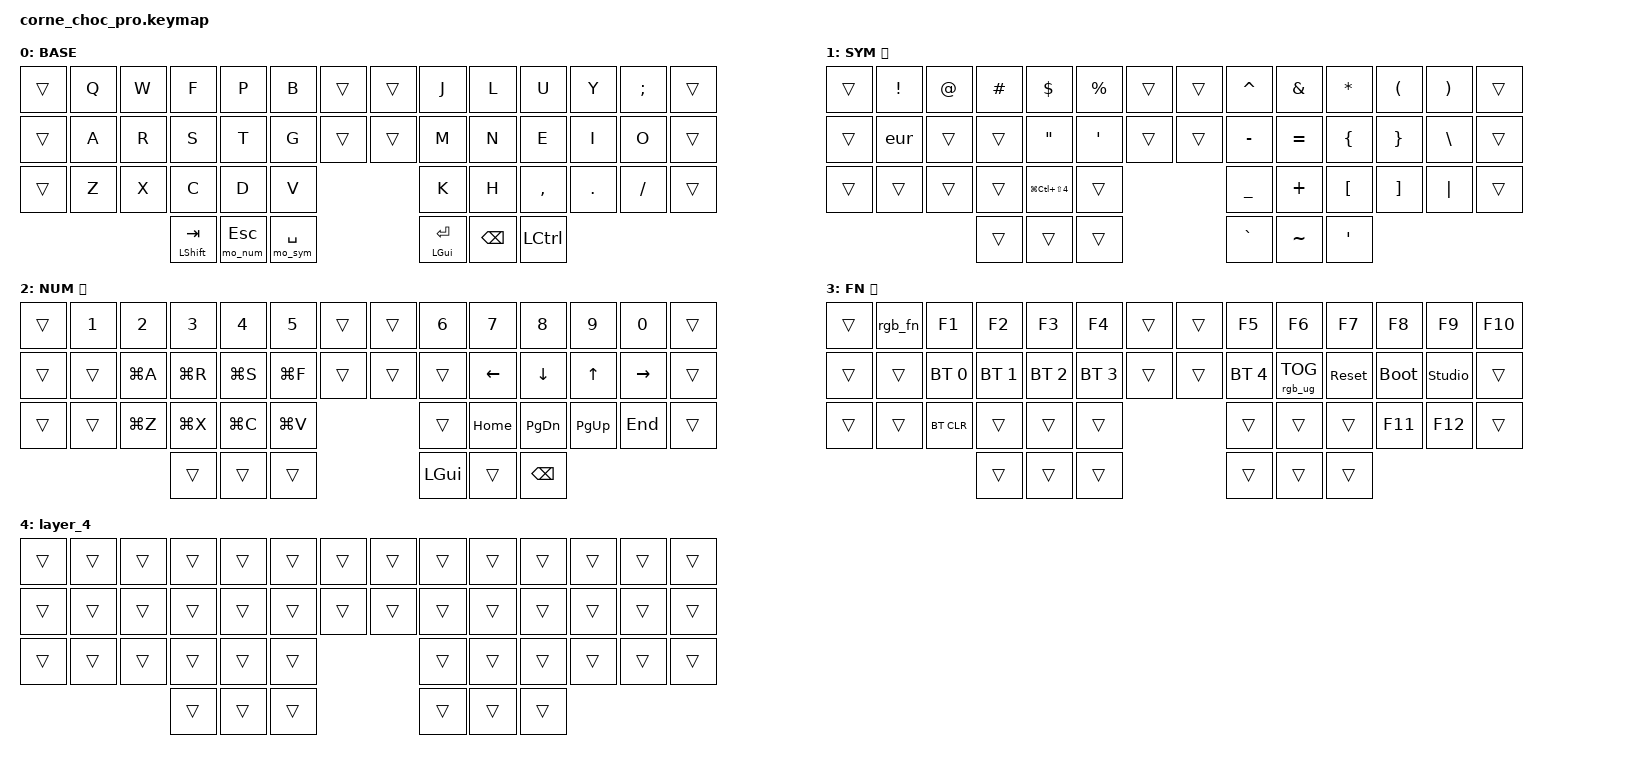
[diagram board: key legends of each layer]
/*
 * Copyright (c) 2020 The ZMK Contributors
 *
 * SPDX-License-Identifier: MIT
 */

#include <behaviors.dtsi>
#include <dt-bindings/zmk/bt.h>
#include <dt-bindings/zmk/keys.h>
#include <dt-bindings/zmk/rgb.h>

/ {
    chosen { zmk,physical-layout = &default_layout; };
};

/ {
    // ─────────────────────────────────────────────────────────────
    // RGB layer colour macros
    // BASE = off | SYM = green | NUM = yellow | FN = red
    // ─────────────────────────────────────────────────────────────

    macros {
        rgb_base: rgb_base {
            compatible = "zmk,behavior-macro";
            #binding-cells = <0>;
            bindings = <&rgb_ug RGB_OFF>;
        };

        rgb_sym: rgb_sym {
            compatible = "zmk,behavior-macro";
            #binding-cells = <0>;
            bindings = <&rgb_ug RGB_ON &rgb_ug RGB_COLOR_HSB(120,100,8)>; // green
        };

        rgb_num: rgb_num {
            compatible = "zmk,behavior-macro";
            #binding-cells = <0>;
            bindings = <&rgb_ug RGB_ON &rgb_ug RGB_COLOR_HSB(60,100,8)>;  // yellow
        };

        rgb_fn: rgb_fn {
            compatible = "zmk,behavior-macro";
            #binding-cells = <0>;
            bindings = <&rgb_ug RGB_ON &rgb_ug RGB_COLOR_HSB(0,100,8)>;   // red
        };

        // ── Momentary layer + RGB on press, restore BASE on release ──

        mo_sym: mo_sym {
            compatible = "zmk,behavior-macro";
            #binding-cells = <0>;
            bindings =
                <&macro_press>,
                <&mo 1>,
                <&macro_tap>,
                <&rgb_sym>,
                <&macro_pause_for_release>,
                <&macro_release>,
                <&mo 1>,
                <&macro_tap>,
                <&rgb_base>;
        };

        mo_num: mo_num {
            compatible = "zmk,behavior-macro";
            #binding-cells = <0>;
            bindings =
                <&macro_press>,
                <&mo 2>,
                <&macro_tap>,
                <&rgb_num>,
                <&macro_pause_for_release>,
                <&macro_release>,
                <&mo 2>,
                <&macro_tap>,
                <&rgb_base>;
        };

        eur: eur {
            compatible = "zmk,behavior-macro";
            #binding-cells = <0>;
            bindings =
                <&macro_press>,
                <&kp LALT>,
                <&macro_tap>,
                <&kp LS(N4)>,
                <&macro_release>,
                <&kp LALT>;
        };

        // FN is a conditional layer (SYM+NUM held together), so we
        // fire rgb_fn when both are held. This macro is bound to a
        // dedicated key on the FN layer itself as a visual indicator —
        // the colour change happens naturally when both mo_sym + mo_num
        // are held because mo_fn fires last via conditional_layers.
        // To drive RGB automatically on FN, we override mo_sym to check:
        // easier to just fire rgb_fn from the conditional layer key below.

        mo_fn: mo_fn {
            compatible = "zmk,behavior-macro";
            #binding-cells = <0>;
            bindings =
                <&macro_press>,
                <&mo 3>,
                <&macro_tap>,
                <&rgb_fn>,
                <&macro_pause_for_release>,
                <&macro_release>,
                <&mo 3>,
                <&macro_tap>,
                <&rgb_base>;
        };
    };

    // ─────────────────────────────────────────────────────────────
    // Conditional layers — hold SYM + NUM together to reach FN
    // ─────────────────────────────────────────────────────────────

    conditional_layers {
        compatible = "zmk,conditional-layers";

        fn_layer {
            if-layers = <1 2>;
            then-layer = <3>;
        };
    };

    // ─────────────────────────────────────────────────────────────
    // Behaviors — hold-tap for thumb keys using the layer macros
    // ─────────────────────────────────────────────────────────────

    behaviors {
        ht_sym: hold_tap_sym {
            compatible = "zmk,behavior-hold-tap";
            #binding-cells = <2>;
            flavor = "balanced";
            tapping-term-ms = <200>;
            bindings = <&mo_sym>, <&kp>;
        };

        ht_num: hold_tap_num {
            compatible = "zmk,behavior-hold-tap";
            #binding-cells = <2>;
            flavor = "balanced";
            tapping-term-ms = <200>;
            bindings = <&mo_num>, <&kp>;
        };
    };

    keymap {
        compatible = "zmk,keymap";

        // ┌──────────────────────────────────────────────────────────────────────────────┐
        // │  Layer 0 — BASE (Colemak-DH)                                                 │
        // │  Cols 7+8 = encoder buttons (trans), outer cols = trans (not physical)       │
        // ├──────┬─────┬─────┬─────┬─────┬─────┬──────┬──────┬─────┬─────┬─────┬─────┬─────┬──────┤
        // │(tr)  │  Q  │  W  │  F  │  P  │  B  │(tr)  │(tr)  │  J  │  L  │  U  │  Y  │  ;  │(tr)  │
        // ├──────┼─────┼─────┼─────┼─────┼─────┼──────┼──────┼─────┼─────┼─────┼─────┼─────┼──────┤
        // │(tr)  │  A  │  R  │  S  │  T  │  G  │(tr)  │(tr)  │  M  │  N  │  E  │  I  │  O  │(tr)  │
        // ├──────┼─────┼─────┼─────┼─────┼─────┼──────┴──────┼─────┼─────┼─────┼─────┼─────┼──────┤
        // │(tr)  │  Z  │  X  │  C  │  D  │  V  │             │  K  │  H  │  ,  │  .  │  /  │(tr)  │
        // └──────┴─────┴─────┼─────┼─────┼─────┼─────────────┼─────┼─────┼─────┴─────┴─────┴──────┘
        //                    │SFT/T│NUM/E│SYM/S│             │GUI/R│ DEL │FDEL │
        //                    └─────┴─────┴─────┘             └─────┴─────┴─────┘

        default_layer {
            display-name = "BASE";
            bindings = <
&trans  &kp Q  &kp W  &kp F          &kp P          &kp B            &trans  &trans  &kp J         &kp L          &kp U      &kp Y    &kp SEMI  &trans
&trans  &kp A  &kp R  &kp S          &kp T          &kp G            &trans  &trans  &kp M         &kp N          &kp E      &kp I    &kp O     &trans
&trans  &kp Z  &kp X  &kp C          &kp D          &kp V                            &kp K         &kp H          &kp COMMA  &kp DOT  &kp FSLH  &trans
                      &mt LSHFT TAB  &ht_num 0 ESC  &ht_sym 0 SPACE                  &mt LGUI RET  &kp BACKSPACE  &kp LCTRL
            >;
        };

        // ┌──────────────────────────────────────────────────────────────────────────────┐
        // │  Layer 1 — SYM                                                   (green)     │
        // ├──────┬─────┬─────┬─────┬─────┬─────┬──────┬──────┬─────┬─────┬─────┬─────┬─────┬──────┤
        // │(tr)  │  !  │  @  │  #  │  $  │  %  │(tr)  │(tr)  │  ^  │  &  │  *  │  (  │  )  │(tr)  │
        // ├──────┼─────┼─────┼─────┼─────┼─────┼──────┼──────┼─────┼─────┼─────┼─────┼─────┼──────┤
        // │(tr)  │     │     │     │  "  │  '  │(tr)  │(tr)  │  -  │  =  │  {  │  }  │  \  │(tr)  │
        // ├──────┼─────┼─────┼─────┼─────┼─────┼──────┴──────┼─────┼─────┼─────┼─────┼─────┼──────┤
        // │(tr)  │     │     │ SCR │     │     │             │  _  │  +  │  [  │  ]  │  |  │(tr)  │
        // └──────┴─────┴─────┼─────┼─────┼─────┼─────────────┼─────┼─────┼─────┴─────┴─────┴──────┘
        //                    │     │     │■■■■ │             │  `  │  ~  │  '  │
        //                    └─────┴─────┴─────┘             └─────┴─────┴─────┘

        sym_layer {
            display-name = "SYM 🟢";
            bindings = <
&trans  &kp EXCL  &kp AT_SIGN  &kp HASH  &kp DOLLAR          &kp PERCENT  &trans  &trans  &kp CARET  &kp AMPERSAND  &kp ASTERISK  &kp LEFT_PARENTHESIS  &kp RIGHT_PARENTHESIS  &trans
&trans  &eur      &trans       &trans    &kp DQT             &kp SQT      &trans  &trans  &kp MINUS  &kp EQUAL      &kp LBRC      &kp RBRC              &kp BSLH               &trans
&trans  &trans    &trans       &trans    &kp LG(LC(LS(N4)))  &trans                       &kp UNDER  &kp PLUS       &kp LBKT      &kp RBKT              &kp PIPE               &trans
                               &trans    &trans              &trans                       &kp GRAVE  &kp TILDE      &kp SQT
            >;
        };

        // ┌──────────────────────────────────────────────────────────────────────────────┐
        // │  Layer 2 — NUM + NAV                                          (yellow)       │
        // ├──────┬─────┬─────┬─────┬─────┬─────┬──────┬──────┬─────┬─────┬─────┬─────┬─────┬──────┤
        // │(tr)  │  1  │  2  │  3  │  4  │  5  │(tr)  │(tr)  │  6  │  7  │  8  │  9  │  0  │(tr)  │
        // ├──────┼─────┼─────┼─────┼─────┼─────┼──────┼──────┼─────┼─────┼─────┼─────┼─────┼──────┤
        // │(tr)  │CMD+A│CMD+R│CMD+S│CMD+F│     │(tr)  │(tr)  │  ←  │  ↓  │  ↑  │  →  │     │(tr)  │
        // ├──────┼─────┼─────┼─────┼─────┼─────┼──────┴──────┼─────┼─────┼─────┼─────┼─────┼──────┤
        // │(tr)  │CMD+Z│CMD+X│CMD+C│CMD+V│     │             │HOME │PGDN │PGUP │ END │     │(tr)  │
        // └──────┴─────┴─────┼─────┼─────┼─────┼─────────────┼─────┼─────┼─────┴─────┴─────┴──────┘
        //                    │     │■■■■ │     │             │LGUI │     │BSPC │
        //                    └─────┴─────┴─────┘             └─────┴─────┴─────┘

        num_layer {
            display-name = "NUM 🟡";
            bindings = <
&trans  &kp NUMBER_1  &kp NUMBER_2  &kp NUMBER_3  &kp NUMBER_4  &kp N5     &trans  &trans  &kp NUMBER_6  &kp N7    &kp N8     &kp N9     &kp N0     &trans
&trans  &trans        &kp LG(A)     &kp LG(R)     &kp LG(S)     &kp LG(F)  &trans  &trans  &trans        &kp LEFT  &kp DOWN   &kp UP     &kp RIGHT  &trans
&trans  &trans        &kp LG(Z)     &kp LG(X)     &kp LG(C)     &kp LG(V)                  &trans        &kp HOME  &kp PG_DN  &kp PG_UP  &kp END    &trans
                                    &trans        &trans        &trans                     &kp LGUI      &trans    &kp BSPC
            >;
        };

        // ┌──────────────────────────────────────────────────────────────────────────────┐
        // │  Layer 3 — FN                           (SYM + NUM)             (red)        │
        // ├──────┬─────┬─────┬─────┬─────┬─────┬──────┬──────┬─────┬─────┬─────┬─────┬─────┬──────┤
        // │(tr)  │rgb▶ │ F1  │ F2  │ F3  │ F4  │(tr)  │(tr)  │ F5  │ F6  │ F7  │ F8  │ F9  │(tr)  │
        // ├──────┼─────┼─────┼─────┼─────┼─────┼──────┼──────┼─────┼─────┼─────┼─────┼─────┼──────┤
        // │(tr)  │     │ BT0 │ BT1 │ BT2 │ BT3 │(tr)  │(tr)  │ BT4 │ TOG │ RST │BOOT │ STU │(tr)  │
        // ├──────┼─────┼─────┼─────┼─────┼─────┼──────┴──────┼─────┼─────┼─────┼─────┼─────┼──────┤
        // │(tr)  │BTCL │     │     │     │     │             │     │     │     │ F11 │ F12 │(tr)  │
        // └──────┴─────┴─────┼─────┼─────┼─────┼─────────────┼─────┼─────┼─────┴─────┴─────┴──────┘
        //                    │     │■■■■ │■■■■ │             │     │     │     │
        //                    └─────┴─────┴─────┘             └─────┴─────┴─────┘

        fn_layer {
            display-name = "FN 🔴";
            bindings = <
&trans  &rgb_fn  &kp F1        &kp F2        &kp F3        &kp F4        &trans  &trans  &kp F5        &kp F6           &kp F7      &kp F8       &kp F9          &kp F10
&trans  &trans   &bt BT_SEL 0  &bt BT_SEL 1  &bt BT_SEL 2  &bt BT_SEL 3  &trans  &trans  &bt BT_SEL 4  &rgb_ug RGB_TOG  &sys_reset  &bootloader  &studio_unlock  &trans
&trans  &trans   &bt BT_CLR    &trans        &trans        &trans                        &trans        &trans           &trans      &kp F11      &kp F12         &trans
                               &trans        &trans        &trans                        &trans        &trans           &trans
            >;
        };

        layer_4 {
            bindings = <
&trans  &trans  &trans  &trans  &trans  &trans  &trans  &trans  &trans  &trans  &trans  &trans  &trans  &trans
&trans  &trans  &trans  &trans  &trans  &trans  &trans  &trans  &trans  &trans  &trans  &trans  &trans  &trans
&trans  &trans  &trans  &trans  &trans  &trans                  &trans  &trans  &trans  &trans  &trans  &trans
                        &trans  &trans  &trans                  &trans  &trans  &trans
            >;
        };
    };
};
